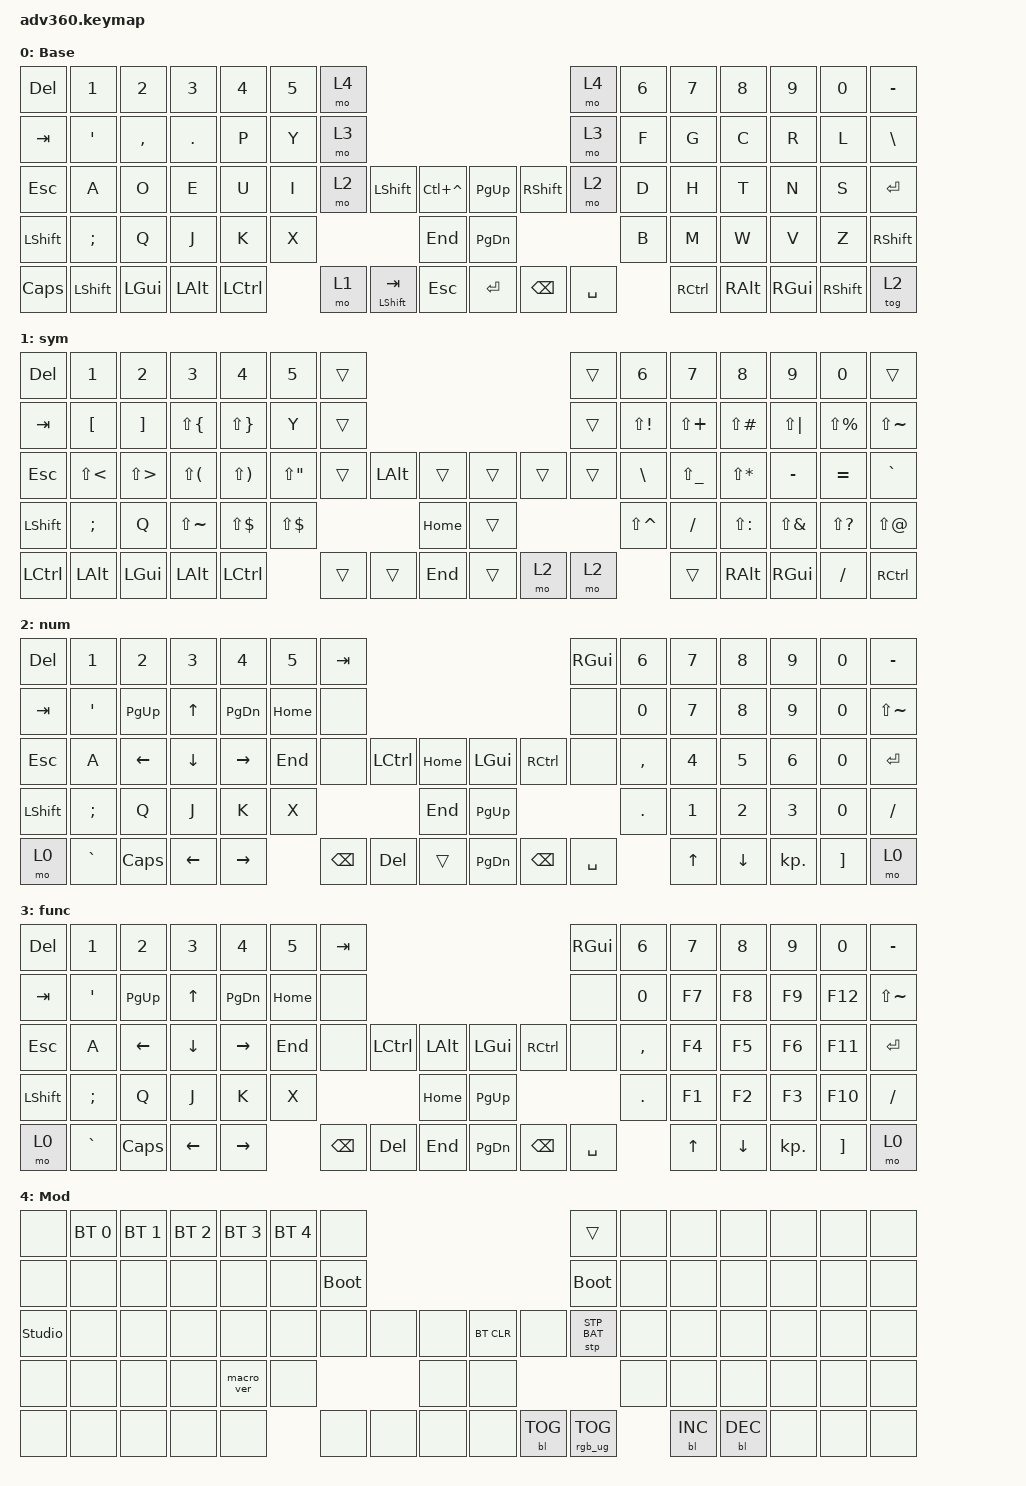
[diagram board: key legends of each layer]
#include <dt-bindings/zmk/stp.h>
#include <behaviors.dtsi>
#include <dt-bindings/zmk/backlight.h>
#include <dt-bindings/zmk/bt.h>
#include <dt-bindings/zmk/keys.h>
#include <dt-bindings/zmk/rgb.h>

/ {
    behaviors {
        #include "macros.dtsi"
      #include "version.dtsi"
    };

    keymap {
        compatible = "zmk,keymap";

        default_layer {
            display-name = "Base";
            bindings = <
&kp DEL    &kp N1    &kp N2     &kp N3    &kp N4     &kp N5  &mo 4                                                              &mo 4      &kp N6  &kp N7     &kp N8    &kp N9    &kp N0    &kp MINUS
&kp TAB    &kp SQT   &kp COMMA  &kp DOT   &kp P      &kp Y   &mo 3                                                              &mo 3      &kp F   &kp G      &kp C     &kp R     &kp L     &kp BSLH
&kp ESC    &kp A     &kp O      &kp E     &kp U      &kp I   &mo 2   &kp LSHFT     &kp LC(CARET)      &kp PG_UP  &kp RSHFT      &mo 2      &kp D   &kp H      &kp T     &kp N     &kp S     &kp ENTER
&kp LSHFT  &kp SEMI  &kp Q      &kp J     &kp K      &kp X                         &kp END            &kp PG_DN                            &kp B   &kp M      &kp W     &kp V     &kp Z     &kp RSHFT
&kp CAPS   &kp LSHFT &kp LGUI   &kp LALT  &kp LCTRL          &mo 1   &mt LSHFT TAB &kp ESC            &kp ENTER  &kp BSPC       &kp SPACE          &kp RCTRL  &kp RALT  &kp RGUI  &kp RSHFT &tog 2
            >;
        };

        SYM {
            display-name = "sym";
            bindings = <
&kp DEL    &kp N1      &kp N2      &kp N3         &kp N4        &kp N5        &trans                                                 &trans  &kp N6         &kp N7         &kp N8         &kp N9        &kp N0         &trans
&kp TAB    &kp LBKT    &kp RBKT    &kp LS(LBRC)   &kp LS(RBRC)  &kp Y         &trans                                                 &trans  &kp LS(EXCL)   &kp LS(PLUS)   &kp LS(POUND)  &kp LS(PIPE)  &kp LS(PRCNT)  &kp LS(TILDE)
&kp ESC    &kp LS(LT)  &kp LS(GT)  &kp LS(LPAR)   &kp LS(RPAR)  &kp LS(DQT)   &trans  &kp LALT  &trans      &trans         &trans    &trans  &kp BSLH       &kp LS(UNDER)  &kp LS(STAR)   &kp MINUS     &kp EQUAL      &kp GRAVE
&kp LSHFT  &kp SEMI    &kp Q       &kp LS(TILDE)  &kp LS(DLLR)  &kp LS(DLLR)                    &kp HOME    &trans                           &kp LS(CARET)  &kp FSLH       &kp LS(COLON)  &kp LS(AMPS)  &kp LS(QMARK)  &kp LS(AT)
&kp LCTRL  &kp LALT    &kp LGUI    &kp LALT       &kp LCTRL                   &trans  &trans    &kp END      &trans         &mo 2     &mo 2                  &trans         &kp RALT       &kp RGUI      &kp FSLH       &kp RCTRL
            >;
        };

        keypad {
            display-name = "num";
            bindings = <
&kp DEL    &kp N1     &kp N2     &kp N3    &kp N4     &kp N5    &kp TAB                                                  &kp RGUI   &kp N6     &kp N7  &kp N8    &kp N9      &kp N0    &kp MINUS
&kp TAB    &kp SQT    &kp PG_UP  &kp UP    &kp PG_DN  &kp HOME  &none                                                    &none      &kp N0     &kp N7  &kp N8    &kp N9      &kp N0    &kp LS(TILDE)
&kp ESC    &kp A      &kp LEFT   &kp DOWN  &kp RIGHT  &kp END   &none     &kp LCTRL  &kp HOME      &kp LGUI   &kp RCTRL  &none      &kp COMMA  &kp N4  &kp N5    &kp N6      &kp N0    &kp ENTER
&kp LSHFT  &kp SEMI   &kp Q      &kp J     &kp K      &kp X                          &kp END       &kp PG_UP                        &kp DOT    &kp N1  &kp N2    &kp N3      &kp N0    &kp FSLH
&mo 0      &kp GRAVE  &kp CAPS   &kp LEFT  &kp RIGHT            &kp BSPC  &kp DEL    &trans        &kp PG_DN  &kp BSPC   &kp SPACE             &kp UP  &kp DOWN  &kp KP_DOT  &kp RBKT  &mo 0
            >;
        };

        FUNC {
            display-name = "func";
            bindings = <
&kp DEL    &kp N1     &kp N2     &kp N3    &kp N4     &kp N5    &kp TAB                                                  &kp RGUI   &kp N6     &kp N7  &kp N8    &kp N9      &kp N0    &kp MINUS
&kp TAB    &kp SQT    &kp PG_UP  &kp UP    &kp PG_DN  &kp HOME  &none                                                    &none      &kp N0     &kp F7  &kp F8    &kp F9      &kp F12   &kp LS(TILDE)
&kp ESC    &kp A      &kp LEFT   &kp DOWN  &kp RIGHT  &kp END   &none     &kp LCTRL  &kp LALT      &kp LGUI   &kp RCTRL  &none      &kp COMMA  &kp F4  &kp F5    &kp F6      &kp F11    &kp ENTER
&kp LSHFT  &kp SEMI   &kp Q      &kp J     &kp K      &kp X                          &kp HOME      &kp PG_UP                        &kp DOT    &kp F1  &kp F2    &kp F3      &kp F10    &kp FSLH
&mo 0      &kp GRAVE  &kp CAPS   &kp LEFT  &kp RIGHT            &kp BSPC  &kp DEL    &kp END       &kp PG_DN  &kp BSPC   &kp SPACE             &kp UP  &kp DOWN  &kp KP_DOT  &kp RBKT  &mo 0
            >;
        };

        mod {
            display-name = "Mod";
            bindings = <
&none           &bt BT_SEL 0  &bt BT_SEL 1  &bt BT_SEL 2  &bt BT_SEL 3  &bt BT_SEL 4  &none                                                  &trans           &none  &none       &none       &none  &none  &none
&none           &none         &none         &none         &none         &none         &bootloader                                            &bootloader      &none  &none       &none       &none  &none  &none
&studio_unlock  &none         &none         &none         &none         &none         &none        &none  &none      &bt BT_CLR  &none       &stp STP_BAT     &none  &none       &none       &none  &none  &none
&none           &none         &none         &none         &macro_ver    &none                             &none      &none                                    &none  &none       &none       &none  &none  &none
&none           &none         &none         &none         &none                       &none        &none  &none      &none       &bl BL_TOG  &rgb_ug RGB_TOG         &bl BL_INC  &bl BL_DEC  &none  &none  &none
            >;
        };
    };
};
